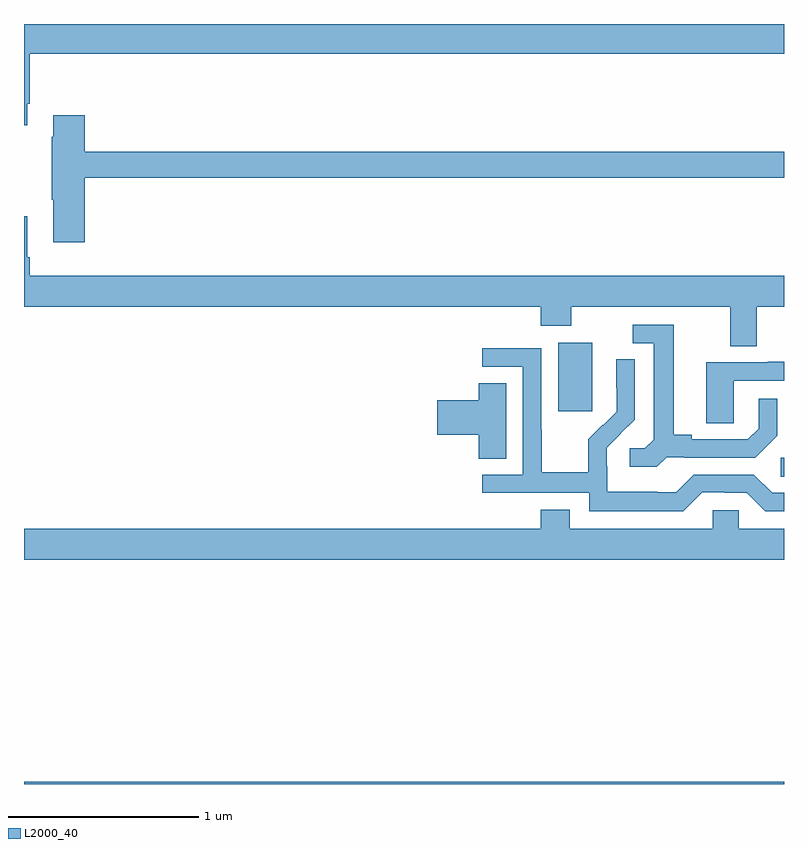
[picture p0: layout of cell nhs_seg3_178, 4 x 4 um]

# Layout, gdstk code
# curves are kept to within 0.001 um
import gdstk
lib = gdstk.Library(unit=1e-6, precision=1e-09)
def R(c, l, rs):  # rectangles x0, y0, x1, y1
    for r in rs: c.add(gdstk.rectangle(r[:2], r[2:], *l))
def P(c, l, *ps):  # polygons
    for p in ps: c.add(gdstk.Polygon(p, *l))
L2000_40 = (2000, 40)

nhs_seg3_178 = lib.new_cell('nhs_seg3_178')
R(nhs_seg3_178, L2000_40, [(119,702.4,123,702.412), (122.982,704.017,123,704.118), (121.811,704.361,121.99,704.722)])
P(nhs_seg3_178, L2000_40, [(119.017,705.979),(119.03,705.979),(119.03,706.244),(123,706.244),(123,706.4),(119,706.4),(119,705.867),(119.017,705.867)],
  [(119.321,705.592),(123,705.592),(123,705.728),(119.321,705.728),(119.321,705.919),(119.153,705.919),(119.153,705.806),(119.146,705.806),(119.146,705.475),(119.153,705.475),(119.153,705.252),(119.321,705.252)],
  [(122.857,704.912),(123,704.912),(123,705.076),(119.03,705.076),(119.03,705.172),(119.017,705.172),(119.017,705.388),(119,705.388),(119,704.912),(121.721,704.912),(121.721,704.813),(121.881,704.813),(121.881,704.912),(122.717,704.912),(122.717,704.704),(122.857,704.704)],
  [(122.382,704.121),(122.476,704.121),(122.476,704.118),(122.848,704.118),(122.964,704.234),(122.964,704.428),(122.867,704.428),(122.867,704.271),(122.81,704.214),(122.515,704.214),(122.515,704.237),(122.419,704.237),(122.419,704.817),(122.205,704.817),(122.205,704.721),(122.315,704.721),(122.315,704.213),(122.268,704.166),(122.187,704.166),(122.187,704.069),(122.33,704.069)],
  [(122.571,703.935),(122.687,703.935),(122.687,703.932),(122.805,703.932),(122.901,703.836),(123,703.836),(123,703.932),(122.937,703.932),(122.841,704.028),(122.526,704.028),(122.433,703.935),(122.333,703.935),(122.333,703.939),(122.07,703.939),(122.07,704.073),(122.068,704.073),(122.068,704.17),(122.214,704.318),(122.214,704.636),(122.118,704.636),(122.118,704.482),(122.12,704.482),(122.12,704.36),(122.049,704.289),(122.046,704.292),(121.969,704.215),(121.969,704.041),(121.725,704.041),(121.725,704.264),(121.722,704.264),(121.722,704.694),(121.413,704.694),(121.413,704.595),(121.626,704.595),(121.626,704.028),(121.413,704.028),(121.413,703.932),(121.974,703.932),(121.974,703.835),(122.471,703.835)],
  [(122.736,704.523),(123,704.523),(123,704.623),(122.915,704.623),(122.915,704.619),(122.591,704.619),(122.591,704.299),(122.736,704.299)],
  [(121.537,704.51),(121.394,704.51),(121.394,704.42),(121.176,704.42),(121.176,704.237),(121.394,704.237),(121.394,704.113),(121.537,704.113)],
  [(123,703.744),(122.763,703.744),(122.763,703.842),(122.625,703.842),(122.625,703.744),(121.873,703.744),(121.873,703.843),(121.721,703.843),(121.721,703.744),(119,703.744),(119,703.58),(123,703.58)])

lib.write_gds('nhs_seg3_178.gds')
